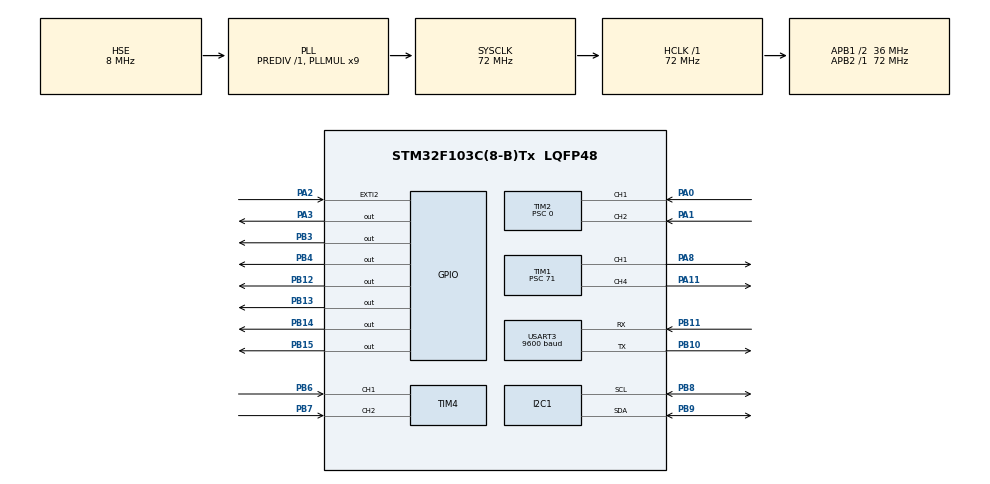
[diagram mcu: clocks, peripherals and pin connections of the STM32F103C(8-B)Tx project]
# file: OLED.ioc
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Mcu.Family=STM32F1
Mcu.Name=STM32F103C(8-B)Tx
Mcu.Package=LQFP48
NVIC.EXTI2_IRQn=true\:0\:0\:false\:false\:true\:true\:true\:true
NVIC.PriorityGroup=NVIC_PRIORITYGROUP_4
NVIC.USART3_IRQn=true\:0\:0\:false\:false\:true\:true\:true\:true
PA0-WKUP.Signal=S_TIM2_CH1_ETR
PA1.Signal=S_TIM2_CH2
PA11.Signal=S_TIM1_CH4
PA13.Mode=Serial_Wire
PA13.Signal=SYS_JTMS-SWDIO
PA14.Mode=Serial_Wire
PA14.Signal=SYS_JTCK-SWCLK
PA2.GPIO_ModeDefaultEXTI=GPIO_MODE_IT_RISING_FALLING
PA2.Signal=GPXTI2
PA3.GPIO_Speed=GPIO_SPEED_FREQ_HIGH
PA3.Signal=GPIO_Output
PA8.Signal=S_TIM1_CH1
PB10.Mode=Asynchronous
PB10.Signal=USART3_TX
PB11.Mode=Asynchronous
PB11.Signal=USART3_RX
PB12.Signal=GPIO_Output
PB13.Signal=GPIO_Output
PB14.Signal=GPIO_Output
PB15.Signal=GPIO_Output
PB3.Signal=GPIO_Output
PB4.Signal=GPIO_Output
PB6.Signal=S_TIM4_CH1
PB7.Signal=S_TIM4_CH2
PB8.Mode=I2C
PB8.Signal=I2C1_SCL
PB9.Mode=I2C
PB9.Signal=I2C1_SDA
PC14-OSC32_IN.Mode=LSE-External-Oscillator
PC14-OSC32_IN.Signal=RCC_OSC32_IN
PC15-OSC32_OUT.Mode=LSE-External-Oscillator
PC15-OSC32_OUT.Signal=RCC_OSC32_OUT
PD0-OSC_IN.Mode=HSE-External-Oscillator
PD0-OSC_IN.Signal=RCC_OSC_IN
PD1-OSC_OUT.Mode=HSE-External-Oscillator
PD1-OSC_OUT.Signal=RCC_OSC_OUT
ProjectManager.HeapSize=0x200
ProjectManager.StackSize=0x400
ProjectManager.TargetToolchain=MDK-ARM V5.32
RCC.AHBFreq_Value=72000000
RCC.APB1CLKDivider=RCC_HCLK_DIV2
RCC.APB1Freq_Value=36000000
RCC.APB1TimFreq_Value=72000000
RCC.APB2Freq_Value=72000000
RCC.APB2TimFreq_Value=72000000
RCC.HCLKFreq_Value=72000000
RCC.PLLMUL=RCC_PLL_MUL9
RCC.PLLSourceVirtual=RCC_PLLSOURCE_HSE
RCC.SYSCLKFreq_VALUE=72000000
RCC.SYSCLKSource=RCC_SYSCLKSOURCE_PLLCLK
RCC.USBFreq_Value=72000000
SH.S_TIM1_CH1.0=TIM1_CH1,PWM Generation1 CH1
SH.S_TIM1_CH4.0=TIM1_CH4,PWM Generation4 CH4
SH.S_TIM2_CH1_ETR.0=TIM2_CH1,Encoder_Interface
SH.S_TIM2_CH2.0=TIM2_CH2,Encoder_Interface
SH.S_TIM4_CH1.0=TIM4_CH1,Encoder_Interface
SH.S_TIM4_CH2.0=TIM4_CH2,Encoder_Interface
TIM1.Channel-PWM\ Generation1\ CH1=TIM_CHANNEL_1
TIM1.Channel-PWM\ Generation4\ CH4=TIM_CHANNEL_4
TIM1.Period=99
TIM1.Prescaler=71
TIM1.Pulse-PWM\ Generation1\ CH1=100
TIM1.Pulse-PWM\ Generation4\ CH4=100
TIM2.EncoderMode=TIM_ENCODERMODE_TI12
TIM2.Prescaler=0
TIM3.Prescaler=71
TIM4.EncoderMode=TIM_ENCODERMODE_TI12
USART3.BaudRate=9600
USART3.VirtualMode=VM_ASYNC
VP_TIM3_VS_ClockSourceINT.Mode=Internal
board=custom

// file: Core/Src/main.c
/* USER CODE BEGIN Header */
/**
  ******************************************************************************
  * @file           : main.c
  * @brief          : Main program body
  ******************************************************************************
  * @attention
  *
  * Copyright (c) 2024 STMicroelectronics.
  * All rights reserved.
  *
  * This software is licensed under terms that can be found in the LICENSE file
  * in the root directory of this software component.
  * If no LICENSE file comes with this software, it is provided AS-IS.
  *
  ******************************************************************************
  */
/* USER CODE END Header */
#include "main.h"
#include "i2c.h"
#include "tim.h"
#include "usart.h"
#include "gpio.h"

/* USER CODE BEGIN Includes */
#include "oled.h"
#include "IIC.h"
#include "inv_mpu.h"
#include "inv_mpu_dmp_motion_driver.h"
#include "mpu6050.h"
#include "stdio.h"
#include "sr04.h"
#include "motor.h"
#include "encode.h"
/* USER CODE END Includes */

/* USER CODE BEGIN PV */
float pitch,roll,yaw;
uint8_t display_buf[20];
extern float distance;
uint32_t sys_tick;
int Encoder_left, Encoder_right;
extern uint8_t rx_buf[2];
/* USER CODE END PV */

void SystemClock_Config(void);
/* USER CODE BEGIN PFP */
void read();
/* USER CODE END PFP */

int main(void)
{

  /* MCU Configuration--------------------------------------------------------*/

  /* Reset of all peripherals, Initializes the Flash interface and the Systick. */
  HAL_Init();

  /* Configure the system clock */
  SystemClock_Config();

  /* Initialize all configured peripherals */
  MX_GPIO_Init();
  MX_I2C1_Init();
  MX_TIM3_Init();
  MX_TIM1_Init();
  MX_TIM2_Init();
  MX_TIM4_Init();
  MX_USART3_UART_Init();
  /* USER CODE BEGIN 2 */
	OLED_Init();
	OLED_Clear();
	MPU_Init();
	mpu_dmp_init();
	OLED_ShowString(0,00,"Init Sucess",16);

	HAL_TIM_PWM_Start(&htim1,TIM_CHANNEL_1);
	HAL_TIM_PWM_Start(&htim1,TIM_CHANNEL_4);

	HAL_TIM_Encoder_Start (&htim2, TIM_CHANNEL_ALL);
	HAL_TIM_Encoder_Start (&htim4, TIM_CHANNEL_ALL);
	HAL_UART_Receive_IT(&huart3,rx_buf,1);
	Load(6,6);
	HAL_UART_Transmit(&huart3,"Hello_world!\r\n", 13, 1000);
  /* USER CODE END 2 */

  /* Infinite loop */
  /* USER CODE BEGIN WHILE */
  while (1)
  {
		read();
//		sprintf((char *)display_buf,"Encoder_left:%d ",Encoder_left);
//		OLED_ShowString(0,2,display_buf,16);
//		sprintf((char *)display_buf,"Encoder_right:%d ",Encoder_right);
//		OLED_ShowString(0,4,display_buf,16);
//		HAL_Delay(100);
		mpu_dmp_get_data(&pitch,&roll,&yaw);
		sprintf((char *)display_buf,"roll:%.2f   ",roll);
		OLED_ShowString(0,2,display_buf,16);
		HAL_UART_Transmit(&huart3,display_buf, sizeof(display_buf), 1000);
//		GET_Distance();
//		sprintf((char *)display_buf,"distance:%.2f   ",distance);
//		OLED_ShowString(0,4,display_buf,12);
    /* USER CODE END WHILE */

  }
}

void SystemClock_Config(void)
{
  RCC_OscInitTypeDef RCC_OscInitStruct = {0};
  RCC_ClkInitTypeDef RCC_ClkInitStruct = {0};

  /** Initializes the RCC Oscillators according to the specified parameters
  * in the RCC_OscInitTypeDef structure.
  */
  RCC_OscInitStruct.OscillatorType = RCC_OSCILLATORTYPE_HSE;
  RCC_OscInitStruct.HSEState = RCC_HSE_ON;
  RCC_OscInitStruct.HSEPredivValue = RCC_HSE_PREDIV_DIV1;
  RCC_OscInitStruct.HSIState = RCC_HSI_ON;
  RCC_OscInitStruct.PLL.PLLState = RCC_PLL_ON;
  RCC_OscInitStruct.PLL.PLLSource = RCC_PLLSOURCE_HSE;
  RCC_OscInitStruct.PLL.PLLMUL = RCC_PLL_MUL9;
  if (HAL_RCC_OscConfig(&RCC_OscInitStruct) != HAL_OK)
  {
    Error_Handler();
  }

  /** Initializes the CPU, AHB and APB buses clocks
  */
  RCC_ClkInitStruct.ClockType = RCC_CLOCKTYPE_HCLK|RCC_CLOCKTYPE_SYSCLK
                              |RCC_CLOCKTYPE_PCLK1|RCC_CLOCKTYPE_PCLK2;
  RCC_ClkInitStruct.SYSCLKSource = RCC_SYSCLKSOURCE_PLLCLK;
  RCC_ClkInitStruct.AHBCLKDivider = RCC_SYSCLK_DIV1;
  RCC_ClkInitStruct.APB1CLKDivider = RCC_HCLK_DIV2;
  RCC_ClkInitStruct.APB2CLKDivider = RCC_HCLK_DIV1;

  if (HAL_RCC_ClockConfig(&RCC_ClkInitStruct, FLASH_LATENCY_2) != HAL_OK)
  {
    Error_Handler();
  }
}

/* USER CODE BEGIN 4 */
	void read(){
		if(uwTick-sys_tick<10)
			return ;
		sys_tick = uwTick;

		Encoder_left =read_speed(&htim2);
		Encoder_right =-read_speed(&htim4);
	}
/* USER CODE END 4 */

void Error_Handler(void)
{
  __disable_irq();
  while (1)
  {
  }
}
